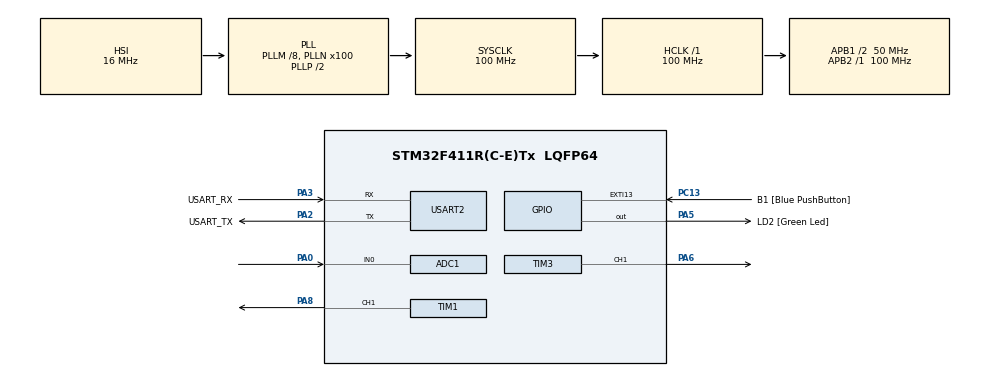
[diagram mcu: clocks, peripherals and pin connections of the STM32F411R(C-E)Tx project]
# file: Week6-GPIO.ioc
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ADC1.Channel-1\#ChannelRegularConversion=ADC_CHANNEL_0
ADC1.ExternalTrigConv=ADC_EXTERNALTRIGCONV_T3_TRGO
ADC1.NbrOfConversion=1
ADC1.NbrOfConversionFlag=1
ADC1.Rank-1\#ChannelRegularConversion=1
ADC1.SamplingTime-1\#ChannelRegularConversion=ADC_SAMPLETIME_480CYCLES
ADC1.master=1
Mcu.Family=STM32F4
Mcu.Name=STM32F411R(C-E)Tx
Mcu.Package=LQFP64
NVIC.ADC_IRQn=true\:0\:0\:false\:false\:true\:true\:true
NVIC.PriorityGroup=NVIC_PRIORITYGROUP_0
NVIC.TIM1_TRG_COM_TIM11_IRQn=true\:0\:0\:false\:false\:true\:true\:true
PA0-WKUP.Signal=ADCx_IN0
PA13.GPIO_Label=TMS
PA13.Mode=Serial_Wire
PA13.Signal=SYS_JTMS-SWDIO
PA14.GPIO_Label=TCK
PA14.Mode=Serial_Wire
PA14.Signal=SYS_JTCK-SWCLK
PA2.GPIO_Label=USART_TX
PA2.Mode=Asynchronous
PA2.Signal=USART2_TX
PA3.GPIO_Label=USART_RX
PA3.Mode=Asynchronous
PA3.Signal=USART2_RX
PA5.GPIO_Label=LD2 [Green Led]
PA5.Signal=GPIO_Output
PA6.Signal=S_TIM3_CH1
PA8.Signal=S_TIM1_CH1
PB3.GPIO_Label=SWO
PB3.Signal=SYS_JTDO-SWO
PC13-ANTI_TAMP.GPIO_Label=B1 [Blue PushButton]
PC13-ANTI_TAMP.GPIO_ModeDefaultEXTI=GPIO_MODE_IT_FALLING
PC13-ANTI_TAMP.Signal=GPXTI13
PC14-OSC32_IN.Mode=LSE-External-Oscillator
PC14-OSC32_IN.Signal=RCC_OSC32_IN
PC15-OSC32_OUT.Mode=LSE-External-Oscillator
PC15-OSC32_OUT.Signal=RCC_OSC32_OUT
PH0\ -\ OSC_IN.Mode=HSE-External-Clock-Source
PH0\ -\ OSC_IN.Signal=RCC_OSC_IN
PH1\ -\ OSC_OUT.Mode=HSE-External-Clock-Source
PH1\ -\ OSC_OUT.Signal=RCC_OSC_OUT
ProjectManager.HeapSize=0x200
ProjectManager.StackSize=0x400
ProjectManager.TargetToolchain=STM32CubeIDE
RCC.48MHZClocksFreq_Value=50000000
RCC.AHBFreq_Value=100000000
RCC.APB1CLKDivider=RCC_HCLK_DIV2
RCC.APB1Freq_Value=50000000
RCC.APB1TimFreq_Value=100000000
RCC.APB2Freq_Value=100000000
RCC.APB2TimFreq_Value=100000000
RCC.CortexFreq_Value=100000000
RCC.FLatency-AdvancedSettings=FLASH_LATENCY_3
RCC.HCLKFreq_Value=100000000
RCC.HSE_VALUE=8000000
RCC.HSI_VALUE=16000000
RCC.PLLM=8
RCC.PLLN=100
RCC.SYSCLKFreq_VALUE=100000000
RCC.SYSCLKSource=RCC_SYSCLKSOURCE_PLLCLK
RCC.VCOOutputFreq_Value=200000000
SH.ADCx_IN0.0=ADC1_IN0,IN0
SH.S_TIM1_CH1.0=TIM1_CH1,PWM Generation1 CH1
SH.S_TIM3_CH1.0=TIM3_CH1,PWM Generation1 CH1
TIM1.AutoReloadPreload=TIM_AUTORELOAD_PRELOAD_DISABLE
TIM1.Channel-PWM\ Generation1\ CH1=TIM_CHANNEL_1
TIM1.Period=10000
TIM1.Prescaler=0
TIM1.Pulse-PWM\ Generation1\ CH1=5000
TIM11.Prescaler=99
TIM3.Channel-PWM\ Generation1\ CH1=TIM_CHANNEL_1
TIM3.Period=1000
TIM3.Prescaler=99
TIM3.TIM_MasterOutputTrigger=TIM_TRGO_UPDATE
USART2.VirtualMode=VM_ASYNC
VP_TIM11_VS_ClockSourceINT.Mode=Enable_Timer
VP_TIM1_VS_ClockSourceINT.Mode=Internal
VP_TIM3_VS_ClockSourceINT.Mode=Internal
board=NUCLEO-F411RE

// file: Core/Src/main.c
/* USER CODE BEGIN Header */
/**
  ******************************************************************************
  * @file           : main.c
  * @brief          : Main program body
  ******************************************************************************
  * @attention
  *
  * <h2><center>&copy; Copyright (c) 2021 STMicroelectronics.
  * All rights reserved.</center></h2>
  *
  * This software component is licensed by ST under BSD 3-Clause license,
  * the "License"; You may not use this file except in compliance with the
  * License. You may obtain a copy of the License at:
  *                        opensource.org/licenses/BSD-3-Clause
  *
  ******************************************************************************
  */
/* USER CODE END Header */
#include "main.h"

ADC_HandleTypeDef hadc1;

TIM_HandleTypeDef htim1;
TIM_HandleTypeDef htim3;
TIM_HandleTypeDef htim11;

UART_HandleTypeDef huart2;

/* USER CODE BEGIN PV */

uint8_t ADCUpdateFlag = 0;
int32_t ADCFeedBack = 0;
int32_t PWMOut = 3000;

uint64_t _micro = 0;
uint64_t TimeOutputLoop = 0;

//Control
float Output_need = 1241; //(1V)
float Kp = 6.12;
float Ki = 100;
float DiffError = 0;
float Integ_now = 0;
float Offset = 6060;

/* USER CODE END PV */

void SystemClock_Config(void);
static void MX_GPIO_Init(void);
static void MX_USART2_UART_Init(void);
static void MX_ADC1_Init(void);
static void MX_TIM1_Init(void);
static void MX_TIM3_Init(void);
static void MX_TIM11_Init(void);
/* USER CODE BEGIN PFP */
uint64_t micros();
/* USER CODE END PFP */

int main(void)
{

  /* MCU Configuration--------------------------------------------------------*/

  /* Reset of all peripherals, Initializes the Flash interface and the Systick. */
  HAL_Init();

  /* Configure the system clock */
  SystemClock_Config();

  /* Initialize all configured peripherals */
  MX_GPIO_Init();
  MX_USART2_UART_Init();
  MX_ADC1_Init();
  MX_TIM1_Init();
  MX_TIM3_Init();
  MX_TIM11_Init();
  /* USER CODE BEGIN 2 */

  //start ADC
  HAL_ADC_Start_IT(&hadc1);
	HAL_TIM_Base_Start(&htim3);
	// start PWM
	HAL_TIM_Base_Start(&htim1);
	HAL_TIM_PWM_Start(&htim1, TIM_CHANNEL_1);

	//start micros()
	HAL_TIM_Base_Start_IT(&htim11);

  /* USER CODE END 2 */

  /* Infinite loop */
  while (1)
  {

    /* USER CODE BEGIN 3 */
	  //1 Khz Loop
		if (micros() - TimeOutputLoop > 1000)
		{
			TimeOutputLoop = micros();
			// #001
			DiffError = Output_need - ADCFeedBack;
			Integ_now += DiffError*0.001;
			PWMOut = (DiffError*Kp)+(Integ_now*Ki)+Offset;
			if (PWMOut > 10000)
			{PWMOut = 10000;}
			else if (PWMOut < 0)
			{PWMOut = 0;}

			__HAL_TIM_SET_COMPARE(&htim1, TIM_CHANNEL_1, PWMOut);

		}

		if (ADCUpdateFlag)
		{
			ADCUpdateFlag = 0;
			//#002
		}

  }
  /* USER CODE END 3 */
}

void SystemClock_Config(void)
{
  RCC_OscInitTypeDef RCC_OscInitStruct = {0};
  RCC_ClkInitTypeDef RCC_ClkInitStruct = {0};

  /** Configure the main internal regulator output voltage
  */
  __HAL_RCC_PWR_CLK_ENABLE();
  __HAL_PWR_VOLTAGESCALING_CONFIG(PWR_REGULATOR_VOLTAGE_SCALE1);
  /** Initializes the RCC Oscillators according to the specified parameters
  * in the RCC_OscInitTypeDef structure.
  */
  RCC_OscInitStruct.OscillatorType = RCC_OSCILLATORTYPE_HSI;
  RCC_OscInitStruct.HSIState = RCC_HSI_ON;
  RCC_OscInitStruct.HSICalibrationValue = RCC_HSICALIBRATION_DEFAULT;
  RCC_OscInitStruct.PLL.PLLState = RCC_PLL_ON;
  RCC_OscInitStruct.PLL.PLLSource = RCC_PLLSOURCE_HSI;
  RCC_OscInitStruct.PLL.PLLM = 8;
  RCC_OscInitStruct.PLL.PLLN = 100;
  RCC_OscInitStruct.PLL.PLLP = RCC_PLLP_DIV2;
  RCC_OscInitStruct.PLL.PLLQ = 4;
  if (HAL_RCC_OscConfig(&RCC_OscInitStruct) != HAL_OK)
  {
    Error_Handler();
  }
  /** Initializes the CPU, AHB and APB buses clocks
  */
  RCC_ClkInitStruct.ClockType = RCC_CLOCKTYPE_HCLK|RCC_CLOCKTYPE_SYSCLK
                              |RCC_CLOCKTYPE_PCLK1|RCC_CLOCKTYPE_PCLK2;
  RCC_ClkInitStruct.SYSCLKSource = RCC_SYSCLKSOURCE_PLLCLK;
  RCC_ClkInitStruct.AHBCLKDivider = RCC_SYSCLK_DIV1;
  RCC_ClkInitStruct.APB1CLKDivider = RCC_HCLK_DIV2;
  RCC_ClkInitStruct.APB2CLKDivider = RCC_HCLK_DIV1;

  if (HAL_RCC_ClockConfig(&RCC_ClkInitStruct, FLASH_LATENCY_3) != HAL_OK)
  {
    Error_Handler();
  }
}

static void MX_ADC1_Init(void)
{

  ADC_ChannelConfTypeDef sConfig = {0};

  /** Configure the global features of the ADC (Clock, Resolution, Data Alignment and number of conversion)
  */
  hadc1.Instance = ADC1;
  hadc1.Init.ClockPrescaler = ADC_CLOCK_SYNC_PCLK_DIV4;
  hadc1.Init.Resolution = ADC_RESOLUTION_12B;
  hadc1.Init.ScanConvMode = DISABLE;
  hadc1.Init.ContinuousConvMode = DISABLE;
  hadc1.Init.DiscontinuousConvMode = DISABLE;
  hadc1.Init.ExternalTrigConvEdge = ADC_EXTERNALTRIGCONVEDGE_RISING;
  hadc1.Init.ExternalTrigConv = ADC_EXTERNALTRIGCONV_T3_TRGO;
  hadc1.Init.DataAlign = ADC_DATAALIGN_RIGHT;
  hadc1.Init.NbrOfConversion = 1;
  hadc1.Init.DMAContinuousRequests = DISABLE;
  hadc1.Init.EOCSelection = ADC_EOC_SINGLE_CONV;
  if (HAL_ADC_Init(&hadc1) != HAL_OK)
  {
    Error_Handler();
  }
  /** Configure for the selected ADC regular channel its corresponding rank in the sequencer and its sample time.
  */
  sConfig.Channel = ADC_CHANNEL_0;
  sConfig.Rank = 1;
  sConfig.SamplingTime = ADC_SAMPLETIME_480CYCLES;
  if (HAL_ADC_ConfigChannel(&hadc1, &sConfig) != HAL_OK)
  {
    Error_Handler();
  }

}

static void MX_TIM1_Init(void)
{

  TIM_ClockConfigTypeDef sClockSourceConfig = {0};
  TIM_MasterConfigTypeDef sMasterConfig = {0};
  TIM_OC_InitTypeDef sConfigOC = {0};
  TIM_BreakDeadTimeConfigTypeDef sBreakDeadTimeConfig = {0};

  htim1.Instance = TIM1;
  htim1.Init.Prescaler = 0;
  htim1.Init.CounterMode = TIM_COUNTERMODE_UP;
  htim1.Init.Period = 10000;
  htim1.Init.ClockDivision = TIM_CLOCKDIVISION_DIV1;
  htim1.Init.RepetitionCounter = 0;
  htim1.Init.AutoReloadPreload = TIM_AUTORELOAD_PRELOAD_DISABLE;
  if (HAL_TIM_Base_Init(&htim1) != HAL_OK)
  {
    Error_Handler();
  }
  sClockSourceConfig.ClockSource = TIM_CLOCKSOURCE_INTERNAL;
  if (HAL_TIM_ConfigClockSource(&htim1, &sClockSourceConfig) != HAL_OK)
  {
    Error_Handler();
  }
  if (HAL_TIM_PWM_Init(&htim1) != HAL_OK)
  {
    Error_Handler();
  }
  sMasterConfig.MasterOutputTrigger = TIM_TRGO_RESET;
  sMasterConfig.MasterSlaveMode = TIM_MASTERSLAVEMODE_DISABLE;
  if (HAL_TIMEx_MasterConfigSynchronization(&htim1, &sMasterConfig) != HAL_OK)
  {
    Error_Handler();
  }
  sConfigOC.OCMode = TIM_OCMODE_PWM1;
  sConfigOC.Pulse = 5000;
  sConfigOC.OCPolarity = TIM_OCPOLARITY_HIGH;
  sConfigOC.OCNPolarity = TIM_OCNPOLARITY_HIGH;
  sConfigOC.OCFastMode = TIM_OCFAST_DISABLE;
  sConfigOC.OCIdleState = TIM_OCIDLESTATE_RESET;
  sConfigOC.OCNIdleState = TIM_OCNIDLESTATE_RESET;
  if (HAL_TIM_PWM_ConfigChannel(&htim1, &sConfigOC, TIM_CHANNEL_1) != HAL_OK)
  {
    Error_Handler();
  }
  sBreakDeadTimeConfig.OffStateRunMode = TIM_OSSR_DISABLE;
  sBreakDeadTimeConfig.OffStateIDLEMode = TIM_OSSI_DISABLE;
  sBreakDeadTimeConfig.LockLevel = TIM_LOCKLEVEL_OFF;
  sBreakDeadTimeConfig.DeadTime = 0;
  sBreakDeadTimeConfig.BreakState = TIM_BREAK_DISABLE;
  sBreakDeadTimeConfig.BreakPolarity = TIM_BREAKPOLARITY_HIGH;
  sBreakDeadTimeConfig.AutomaticOutput = TIM_AUTOMATICOUTPUT_DISABLE;
  if (HAL_TIMEx_ConfigBreakDeadTime(&htim1, &sBreakDeadTimeConfig) != HAL_OK)
  {
    Error_Handler();
  }
  HAL_TIM_MspPostInit(&htim1);

}

static void MX_TIM3_Init(void)
{

  TIM_ClockConfigTypeDef sClockSourceConfig = {0};
  TIM_MasterConfigTypeDef sMasterConfig = {0};
  TIM_OC_InitTypeDef sConfigOC = {0};

  htim3.Instance = TIM3;
  htim3.Init.Prescaler = 99;
  htim3.Init.CounterMode = TIM_COUNTERMODE_UP;
  htim3.Init.Period = 1000;
  htim3.Init.ClockDivision = TIM_CLOCKDIVISION_DIV1;
  htim3.Init.AutoReloadPreload = TIM_AUTORELOAD_PRELOAD_DISABLE;
  if (HAL_TIM_Base_Init(&htim3) != HAL_OK)
  {
    Error_Handler();
  }
  sClockSourceConfig.ClockSource = TIM_CLOCKSOURCE_INTERNAL;
  if (HAL_TIM_ConfigClockSource(&htim3, &sClockSourceConfig) != HAL_OK)
  {
    Error_Handler();
  }
  if (HAL_TIM_PWM_Init(&htim3) != HAL_OK)
  {
    Error_Handler();
  }
  sMasterConfig.MasterOutputTrigger = TIM_TRGO_UPDATE;
  sMasterConfig.MasterSlaveMode = TIM_MASTERSLAVEMODE_DISABLE;
  if (HAL_TIMEx_MasterConfigSynchronization(&htim3, &sMasterConfig) != HAL_OK)
  {
    Error_Handler();
  }
  sConfigOC.OCMode = TIM_OCMODE_PWM1;
  sConfigOC.Pulse = 0;
  sConfigOC.OCPolarity = TIM_OCPOLARITY_HIGH;
  sConfigOC.OCFastMode = TIM_OCFAST_DISABLE;
  if (HAL_TIM_PWM_ConfigChannel(&htim3, &sConfigOC, TIM_CHANNEL_1) != HAL_OK)
  {
    Error_Handler();
  }
  HAL_TIM_MspPostInit(&htim3);

}

static void MX_TIM11_Init(void)
{

  htim11.Instance = TIM11;
  htim11.Init.Prescaler = 99;
  htim11.Init.CounterMode = TIM_COUNTERMODE_UP;
  htim11.Init.Period = 65535;
  htim11.Init.ClockDivision = TIM_CLOCKDIVISION_DIV1;
  htim11.Init.AutoReloadPreload = TIM_AUTORELOAD_PRELOAD_DISABLE;
  if (HAL_TIM_Base_Init(&htim11) != HAL_OK)
  {
    Error_Handler();
  }

}

static void MX_USART2_UART_Init(void)
{

  huart2.Instance = USART2;
  huart2.Init.BaudRate = 115200;
  huart2.Init.WordLength = UART_WORDLENGTH_8B;
  huart2.Init.StopBits = UART_STOPBITS_1;
  huart2.Init.Parity = UART_PARITY_NONE;
  huart2.Init.Mode = UART_MODE_TX_RX;
  huart2.Init.HwFlowCtl = UART_HWCONTROL_NONE;
  huart2.Init.OverSampling = UART_OVERSAMPLING_16;
  if (HAL_UART_Init(&huart2) != HAL_OK)
  {
    Error_Handler();
  }

}

static void MX_GPIO_Init(void)
{
  GPIO_InitTypeDef GPIO_InitStruct = {0};

  /* GPIO Ports Clock Enable */
  __HAL_RCC_GPIOC_CLK_ENABLE();
  __HAL_RCC_GPIOH_CLK_ENABLE();
  __HAL_RCC_GPIOA_CLK_ENABLE();
  __HAL_RCC_GPIOB_CLK_ENABLE();

  /*Configure GPIO pin Output Level */
  HAL_GPIO_WritePin(LD2_GPIO_Port, LD2_Pin, GPIO_PIN_RESET);

  /*Configure GPIO pin : B1_Pin */
  GPIO_InitStruct.Pin = B1_Pin;
  GPIO_InitStruct.Mode = GPIO_MODE_IT_FALLING;
  GPIO_InitStruct.Pull = GPIO_NOPULL;
  HAL_GPIO_Init(B1_GPIO_Port, &GPIO_InitStruct);

  /*Configure GPIO pin : LD2_Pin */
  GPIO_InitStruct.Pin = LD2_Pin;
  GPIO_InitStruct.Mode = GPIO_MODE_OUTPUT_PP;
  GPIO_InitStruct.Pull = GPIO_NOPULL;
  GPIO_InitStruct.Speed = GPIO_SPEED_FREQ_LOW;
  HAL_GPIO_Init(LD2_GPIO_Port, &GPIO_InitStruct);

}

/* USER CODE BEGIN 4 */
void HAL_ADC_ConvCpltCallback(ADC_HandleTypeDef *hadc) {
	ADCFeedBack = HAL_ADC_GetValue(&hadc1);
	ADCUpdateFlag = 1;
}
void HAL_TIM_PeriodElapsedCallback(TIM_HandleTypeDef *htim) {
	if (htim == &htim11) {
		_micro += 65535;
	}
}

__inline__ uint64_t micros() {
	return _micro + htim11.Instance->CNT;
}

/* USER CODE END 4 */

void Error_Handler(void)
{
  __disable_irq();
  while (1)
  {
  }
}

/************************ (C) COPYRIGHT STMicroelectronics *****END OF FILE****/
